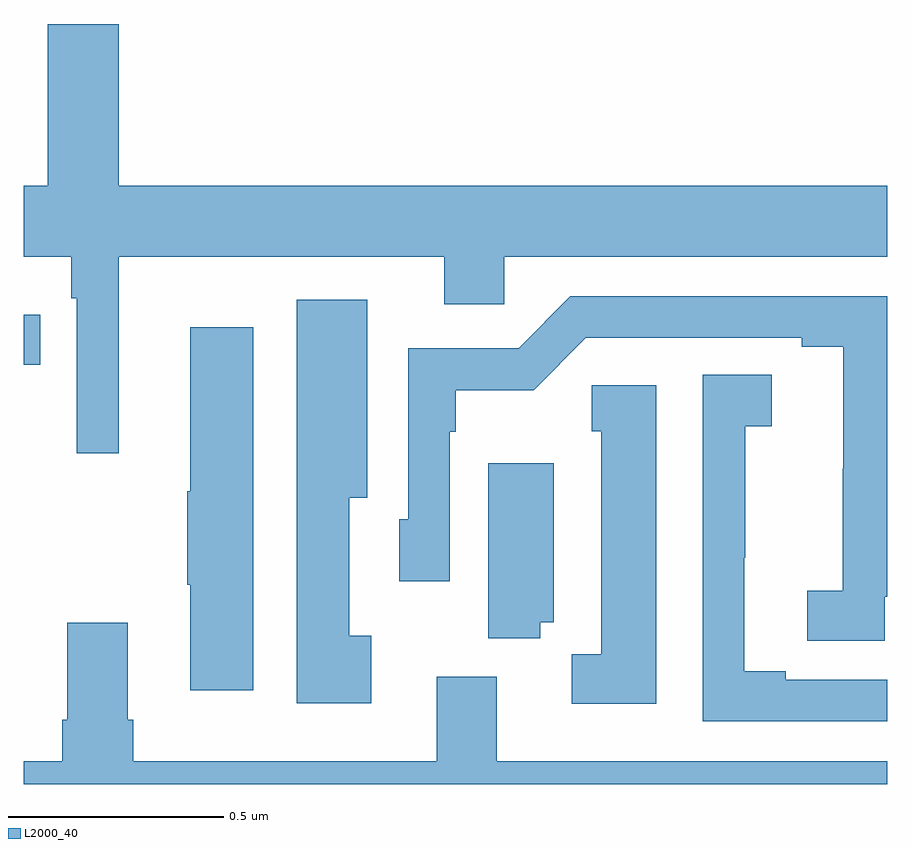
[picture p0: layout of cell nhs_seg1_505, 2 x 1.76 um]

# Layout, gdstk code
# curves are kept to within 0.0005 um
import gdstk
lib = gdstk.Library(unit=1e-6, precision=1e-09)
def R(c, l, rs):  # rectangles x0, y0, x1, y1
    for r in rs: c.add(gdstk.rectangle(r[:2], r[2:], *l))
def P(c, l, *ps):  # polygons
    for p in ps: c.add(gdstk.Polygon(p, *l))
L2000_40 = (2000, 40)

nhs_seg1_505 = lib.new_cell('nhs_seg1_505')
R(nhs_seg1_505, L2000_40, [(117,530.17,117.038,530.286)])
P(nhs_seg1_505, L2000_40, [(117.22,530.42),(117.974,530.42),(117.974,530.31),(118.113,530.31),(118.113,530.42),(119,530.42),(119,530.584),(117.22,530.584),(117.22,530.959),(117.056,530.959),(117.056,530.584),(117,530.584),(117,530.42),(117.11,530.42),(117.11,530.324),(117.123,530.324),(117.123,529.965),(117.22,529.965)],
  [(118.994,529.633),(119,529.633),(119,530.328),(118.266,530.328),(118.146,530.208),(117.891,530.208),(117.891,529.812),(117.87,529.812),(117.87,529.668),(117.987,529.668),(117.987,530.015),(118,530.015),(118,530.111),(118.181,530.111),(118.302,530.232),(118.802,530.232),(118.802,530.212),(118.898,530.212),(118.897,529.646),(118.815,529.646),(118.815,529.531),(118.994,529.531)],
  [(117.805,529.542),(117.754,529.542),(117.754,529.862),(117.796,529.862),(117.796,530.32),(117.632,530.32),(117.632,529.386),(117.805,529.386)],
  [(117.532,530.257),(117.386,530.257),(117.386,529.877),(117.379,529.877),(117.379,529.66),(117.386,529.66),(117.386,529.416),(117.532,529.416)],
  [(119,529.44),(118.765,529.44),(118.765,529.46),(118.669,529.46),(118.669,529.723),(118.671,529.723),(118.671,530.027),(118.732,530.027),(118.732,530.147),(118.572,530.147),(118.572,529.344),(119,529.344)],
  [(118.465,530.122),(118.315,530.122),(118.315,530.016),(118.337,530.016),(118.337,529.5),(118.269,529.5),(118.269,529.385),(118.465,529.385)],
  [(118.196,529.574),(118.228,529.574),(118.228,529.942),(118.076,529.942),(118.076,529.537),(118.196,529.537)],
  [(119,529.252),(118.096,529.252),(118.096,529.447),(117.956,529.447),(117.956,529.252),(117.254,529.252),(117.254,529.348),(117.241,529.348),(117.241,529.573),(117.101,529.573),(117.101,529.348),(117.089,529.348),(117.089,529.252),(117,529.252),(117,529.199),(119,529.199)])

lib.write_gds('nhs_seg1_505.gds')
